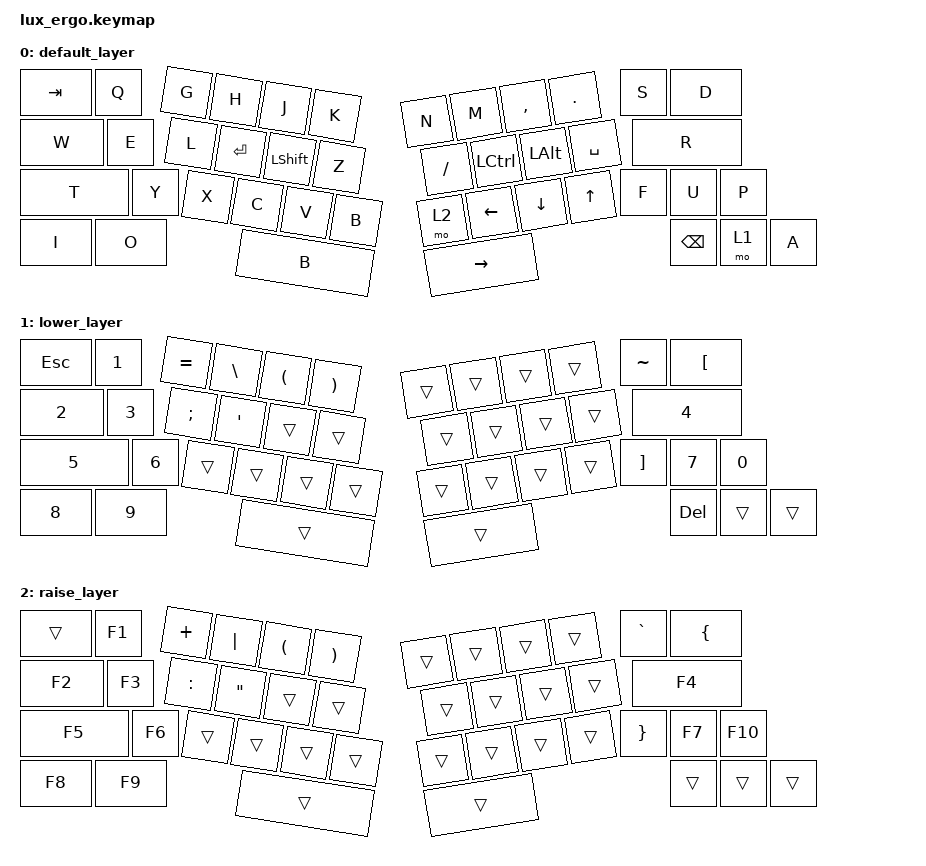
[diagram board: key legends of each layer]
/*
 * Copyright (c) 2025 The ZMK Contributors
 *
 * SPDX-License-Identifier: MIT
 */

#include <dt-bindings/zmk/keys.h>
#include <dt-bindings/zmk/bt.h>
#include <dt-bindings/zmk/outputs.h>
#include <behaviors.dtsi>

#include <lux_ergo-layouts.dtsi>

/ {
    keymap {
            compatible = "zmk,keymap";

            default_layer {
            // ------------------------------------------------------------------------------------------
            // |  TAB  |  Q   |  W   |  E   |  R   |  T   |   Y   |  U    |  I   |  O   |   P   |  BSP  |
            // | MO(1) |  A   |  S   |  D   |  F   |  G   |   H   |  J    |  K   |  L   |     ENTER     |
            // | SHIFT |  Z   |  X   |  C   |  V   |  B   |   B   |   N   |  M   |  ,   |  .    |   ?/  |   UP   |
            // | LCTRL | LALT |           SPACE           |               SPACE                 |  LEFT |  DOWN  |  RIGHT |


            bindings = <
                &kp TAB    &kp Q        &kp W       &kp E    &kp R      &kp T       &kp Y       &kp U   &kp I       &kp O       &kp P       &kp BACKSPACE
                &mo 1      &kp A        &kp S       &kp D    &kp F      &kp G       &kp H       &kp J   &kp K       &kp L       &kp ENTER
                &kp LSHFT  &kp Z        &kp X       &kp C    &kp V      &kp B       &kp B       &kp N   &kp M       &kp COMMA   &kp DOT     &kp FSLH
                &kp LCTRL  &kp LALT     &kp SPACE   &mo 2    &kp LEFT   &kp DOWN    &kp UP      &kp RIGHT
            >;
        };

        lower_layer {
            // -------------------------------------------------------------------------------------------
            // |   ESC |  1   |  2   |  3   |  4   |  5   |   6   |   7   |  8    |  9   |   0   |  DEL  |
            // |       |      |TILDE |  [   |  ]   |EQUAL |   |   |   LPAR|   RPAR|  ;   |   '           |
            // |       |      |      |      |      |      |       |       |   -   |  =   |       |       |
            // |       |      |      |      |      |      |       |       |       |      |       |       |


            bindings = <
                &kp ESC            &kp N1   &kp N2    &kp N3   &kp N4    &kp N5       &kp N6          &kp N7              &kp N8              &kp N9       &kp N0           &kp DEL
                &trans             &trans   &kp TILDE &kp LBKT &kp RBKT  &kp EQUAL    &kp BSLH        &kp LPAR            &kp RPAR            &kp SEMI     &kp SQT          
                &trans             &trans   &trans    &trans   &trans    &trans       &trans          &trans              &trans              &trans       &trans           &trans
                &trans             &trans   &trans    &trans   &trans    &trans       &trans          &trans
            >;
        };

        raise_layer {
            // ------------------------------------------------------------------------------------------
            // |  ESC  |  F2  |  F3  |  F4  |  F5  |  F6  |  F7   |  F8   |  F9  | F10  |  F11  |  F12  |
            // |   ~   |  1   |  2   |  3   |  4   |  5   |  6    |   7   |  8   |  9   |   0   |  DEL  |
            // |  DEL  |  F1  |  F2  |  F3  |  F4  |  F5  |  F6   |   -   |  =   |  [   |   ]   |   \   |
            // |       |  F7  |  F8  |  F9  |  F10 |  F11 |  F12  |   #   |  |   |      |       |       |
            // |       |      |      |      |      |      |       |       |      |      |       |       |


            bindings = <
                &trans        &kp F1   &kp F2    &kp F3   &kp F4    &kp F5       &kp F6          &kp F7          &kp F8              &kp F9       &kp F10           &trans
                &trans        &trans   &kp GRAVE &kp LBRC &kp RBRC  &kp PLUS     &kp PIPE        &kp LPAR        &kp RPAR            &kp COLON    &kp DQT          
                &trans        &trans   &trans    &trans   &trans    &trans       &trans          &trans          &trans              &trans       &trans           &trans
                &trans        &trans   &trans    &trans   &trans    &trans       &trans          &trans
            >;
        };
    };
};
